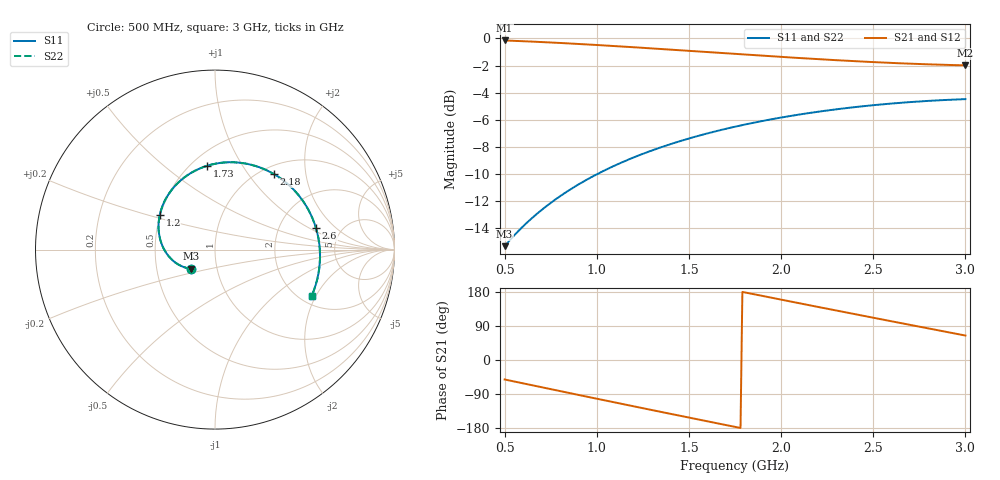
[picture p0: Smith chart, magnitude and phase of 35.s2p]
!freq-unit  param-type  data-format  keyword  impedance-ohms
# GHZ  S  RI  R  50
!Freq  ReS11  ImS11  ReS21  ImS21  ReS12  ImS12  ReS22  ImS22
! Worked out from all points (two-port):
!   251 points, 500 MHz to 3 GHz, reference 50 ohm
!   highest |S21| = -0.14 dB at 500 MHz (marker M1); lowest = -2.0 dB at 3 GHz (marker M2)
!   |S21| within 3 dB of the highest: start of sweep to end of sweep
!   lowest |S11| = -15.3 dB at 500 MHz (marker M3), VSWR 1.41, Z = 37.4 - j8.2 ohm
!   |S11| at or under -10 dB: start of sweep to 1.005 GHz
!   |S22| runs from -15.3 to -4.5 dB; largest |S21 - S12| = 0
!   S11 on the Smith chart (normalised r, x): 500 MHz: 0.75, -0.16; 1.2 GHz: 0.50, +0.22; 1.73 GHz: 0.60, +0.71; 2.18 GHz: 1.14, +1.34; 2.6 GHz: 3.25, +1.17; 3 GHz: 2.31, -1.84
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0.5  -0.1338 -0.1064  0.6135 -0.7687  0.6135 -0.7687  -0.1338 -0.1064
0.61  -0.1825 -0.094  0.4487 -0.8675  0.4487 -0.8675  -0.1825 -0.094
0.71  -0.225 -0.0691  0.2861 -0.9265  0.2861 -0.9265  -0.225 -0.0691
0.81  -0.2621 -0.0318  0.1174 -0.9549  0.1174 -0.9549  -0.2621 -0.0318
0.92  -0.2933 0.0215  -0.0683 -0.9506  -0.0683 -0.9506  -0.2933 0.0215
1.06  -0.3134 0.1035  -0.2939 -0.8939  -0.2939 -0.8939  -0.3134 0.1035
1.2  -0.3074 0.1942  -0.4948 -0.7855  -0.4948 -0.7855  -0.3074 0.1942
1.34  -0.2731 0.2848  -0.66 -0.6343  -0.66 -0.6343  -0.2731 0.2848
1.44  -0.2316 0.3447  -0.7515 -0.5061  -0.7515 -0.5061  -0.2316 0.3447
1.54  -0.1772 0.3971  -0.8185 -0.3662  -0.8185 -0.3662  -0.1772 0.3971
1.73  -0.0444 0.4668  -0.875 -0.0841  -0.875 -0.0841  -0.0444 0.4668
1.75  -0.0287 0.4714  -0.8756 -0.0541  -0.8756 -0.0541  -0.0287 0.4714
1.85  0.0531 0.4855  -0.8632 0.0937  -0.8632 0.0937  0.0531 0.4855
1.95  0.1382 0.484  -0.8267 0.2352  -0.8267 0.2352  0.1382 0.484
2.06  0.2317 0.464  -0.7609 0.3792  -0.7609 0.3792  0.2317 0.464
2.17  0.3213 0.4249  -0.6715 0.5069  -0.6715 0.5069  0.3213 0.4249
2.18  0.3291 0.4204  -0.6623 0.5176  -0.6623 0.5176  0.3291 0.4204
2.39  0.4726 0.2945  -0.4369 0.7001  -0.4369 0.7001  0.4726 0.2945
2.59  0.5597 0.1293  -0.1833 0.7919  -0.1833 0.7919  0.5597 0.1293
2.6  0.5625 0.1202  -0.1701 0.7943  -0.1701 0.7943  0.5625 0.1202
2.8  0.5841 -0.0691  0.094 0.7971  0.094 0.7971  0.5841 -0.0691
3  0.5389 -0.2568  0.3422 0.7185  0.3422 0.7185  0.5389 -0.2568
